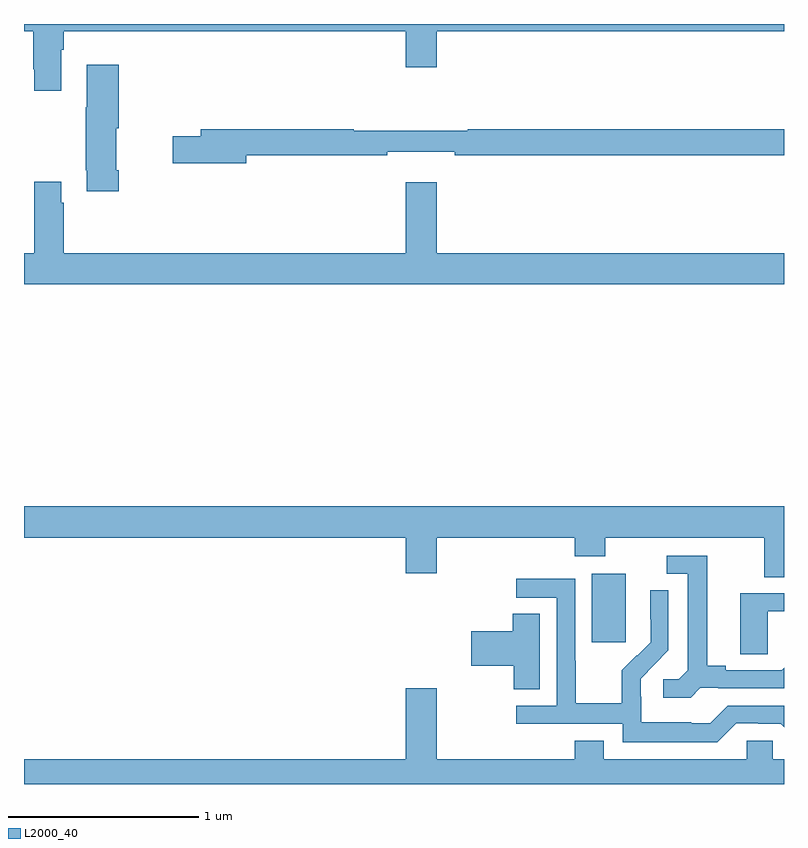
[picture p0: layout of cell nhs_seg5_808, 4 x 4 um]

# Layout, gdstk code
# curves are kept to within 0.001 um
import gdstk
lib = gdstk.Library(unit=1e-6, precision=1e-09)
def R(c, l, rs):  # rectangles x0, y0, x1, y1
    for r in rs: c.add(gdstk.rectangle(r[:2], r[2:], *l))
def P(c, l, *ps):  # polygons
    for p in ps: c.add(gdstk.Polygon(p, *l))
L2000_40 = (2000, 40)

nhs_seg5_808 = lib.new_cell('nhs_seg5_808')
R(nhs_seg5_808, L2000_40, [(165.989,853.545,166.168,853.906)])
P(nhs_seg5_808, L2000_40, [(163,856.76),(163.048,856.76),(163.048,856.561),(163.055,856.561),(163.055,856.449),(163.195,856.449),(163.195,856.664),(163.208,856.664),(163.208,856.76),(165.008,856.76),(165.008,856.572),(165.172,856.572),(165.172,856.76),(167,856.76),(167,856.799),(163,856.799)],
  [(163.499,856.03),(163.486,856.03),(163.486,856.251),(163.499,856.251),(163.499,856.585),(163.331,856.585),(163.331,856.361),(163.324,856.361),(163.324,856.03),(163.331,856.03),(163.331,855.918),(163.499,855.918)],
  [(164.17,856.108),(164.912,856.108),(164.912,856.127),(165.268,856.127),(165.268,856.108),(167,856.108),(167,856.244),(165.335,856.244),(165.335,856.237),(164.735,856.237),(164.735,856.244),(163.931,856.244),(163.931,856.208),(163.782,856.208),(163.782,856.066),(164.17,856.066)],
  [(167,855.592),(165.172,855.592),(165.172,855.967),(165.008,855.967),(165.008,855.592),(163.208,855.592),(163.208,855.857),(163.195,855.857),(163.195,855.97),(163.055,855.97),(163.055,855.592),(163,855.592),(163,855.428),(167,855.428)],
  [(167,854.26),(163,854.26),(163,854.096),(165.008,854.096),(165.008,853.908),(165.172,853.908),(165.172,854.096),(165.899,854.096),(165.899,853.997),(166.059,853.997),(166.059,854.096),(166.895,854.096),(166.895,853.888),(167,853.888)],
  [(166.56,853.305),(166.654,853.305),(166.654,853.302),(167,853.302),(167,853.41),(166.988,853.398),(166.693,853.398),(166.693,853.421),(166.597,853.421),(166.597,854.001),(166.383,854.001),(166.383,853.905),(166.493,853.905),(166.493,853.397),(166.446,853.35),(166.365,853.35),(166.365,853.253),(166.508,853.253)],
  [(166.749,853.119),(166.865,853.119),(166.865,853.116),(166.983,853.116),(167,853.099),(167,853.212),(166.704,853.212),(166.611,853.119),(166.511,853.119),(166.511,853.123),(166.248,853.123),(166.248,853.257),(166.246,853.257),(166.246,853.354),(166.392,853.502),(166.392,853.82),(166.296,853.82),(166.296,853.666),(166.298,853.666),(166.298,853.544),(166.227,853.473),(166.224,853.476),(166.147,853.399),(166.147,853.225),(165.903,853.225),(165.903,853.448),(165.9,853.448),(165.9,853.878),(165.591,853.878),(165.591,853.779),(165.804,853.779),(165.804,853.212),(165.591,853.212),(165.591,853.116),(166.152,853.116),(166.152,853.019),(166.649,853.019)],
  [(166.914,853.707),(167,853.707),(167,853.803),(166.769,853.803),(166.769,853.483),(166.914,853.483)],
  [(165.715,853.694),(165.572,853.694),(165.572,853.604),(165.354,853.604),(165.354,853.421),(165.577,853.421),(165.577,853.297),(165.715,853.297)],
  [(167,852.928),(166.941,852.928),(166.941,853.026),(166.803,853.026),(166.803,852.928),(166.051,852.928),(166.051,853.027),(165.899,853.027),(165.899,852.928),(165.172,852.928),(165.172,853.303),(165.008,853.303),(165.008,852.928),(163,852.928),(163,852.799),(167,852.799)])

lib.write_gds('nhs_seg5_808.gds')
